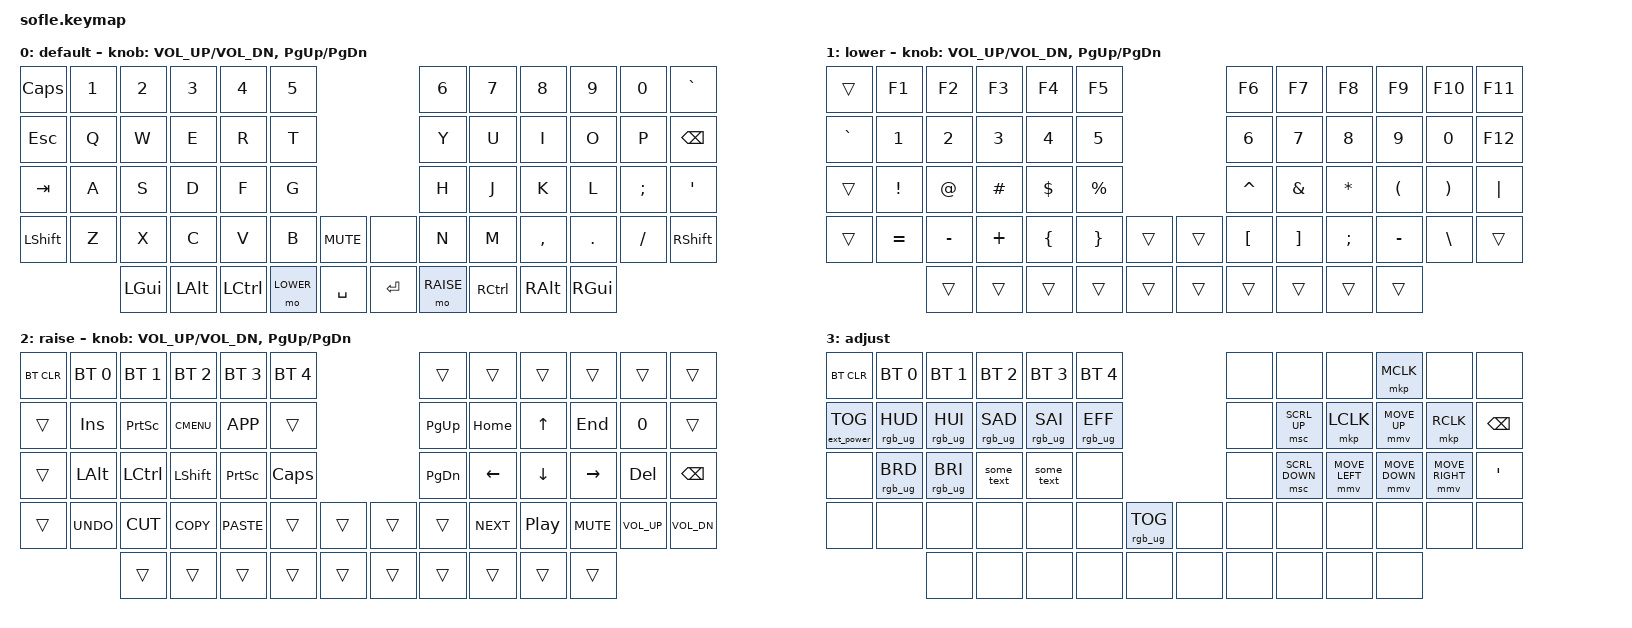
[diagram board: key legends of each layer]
/*
 * Copyright (c) 2020 The ZMK Contributors
 *
 * SPDX-License-Identifier: MIT
 */

#include <behaviors.dtsi>
#include <dt-bindings/zmk/keys.h>
#include <dt-bindings/zmk/bt.h>
#include <dt-bindings/zmk/rgb.h>
#include <dt-bindings/zmk/ext_power.h>

#define BASE 0
#define LOWER 1
#define RAISE 2
#define ADJUST 3

// Mouse definitions
#define ZMK_POINTING_DEFAULT_MOVE_VAL 1500  // default: 600
#define ZMK_POINTING_DEFAULT_SCRL_VAL 20    // default: 10

#include <dt-bindings/zmk/pointing.h>

/ {

   // Activate ADJUST layer by pressing raise and lower
    conditional_layers {
        compatible = "zmk,conditional-layers";
        adjust_layer {
            if-layers = <LOWER RAISE>;
            then-layer = <ADJUST>;
        };
    };

    macros {
        some_text: some_text {
            label = "some_text";
            compatible = "zmk,behavior-macro";
            #binding-cells = <0>;
            wait-ms = <0>;
            tap-ms = <0>;
            bindings
                = <&kp S &kp O &kp M &kp E &kp UNDER &kp T &kp E &kp X &kp T>
                , <&macro_press &kp RET>
                , <&macro_release &kp RET>
                ;
        };
    };

    keymap {
        compatible = "zmk,keymap";

        default_layer { // Layer 0 (BASE)
            display-name = "default";
// ------------------------------------------------------------------------------------------------------------
// |  CAPS |  1  |  2  |  3   |  4   |  5   |                   |  6   |  7    |  8    |  9   |   0   |   `   |
// |  ESC  |  Q  |  W  |  E   |  R   |  T   |                   |  Y   |  U    |  I    |  O   |   P   | BKSPC |
// |  TAB  |  A  |  S  |  D   |  F   |  G   |                   |  H   |  J    |  K    |  L   |   ;   |   '   |
// | SHIFT |  Z  |  X  |  C   |  V   |  B   |  MUTE  |  |       |  N   |  M    |  ,    |  .   |   /   | SHIFT |
//               | GUI | ALT  | CTRL | LOWER|  SPACE |  | ENTER | RAISE| CTRL  | ALT   | GUI  |
            bindings = <
&kp CLCK  &kp N1 &kp N2   &kp N3   &kp N4    &kp N5                           &kp N6     &kp N7    &kp N8    &kp N9   &kp N0   &kp GRAVE
&kp ESC   &kp Q  &kp W    &kp E    &kp R     &kp T                            &kp Y      &kp U     &kp I     &kp O    &kp P    &kp BSPC
&kp TAB   &kp A  &kp S    &kp D    &kp F     &kp G                            &kp H      &kp J     &kp K     &kp L    &kp SEMI &kp SQT
&kp LSHFT &kp Z  &kp X    &kp C    &kp V     &kp B      &kp C_MUTE &none      &kp N      &kp M     &kp COMMA &kp DOT  &kp FSLH &kp RSHFT
                 &kp LGUI &kp LALT &kp LCTRL &mo LOWER  &kp SPACE  &kp RET    &mo RAISE  &kp RCTRL &kp RALT  &kp RGUI
            >;

            sensor-bindings = <&inc_dec_kp C_VOL_UP C_VOL_DN &inc_dec_kp PG_UP PG_DN>;
        };

        lower_layer {
            display-name = "lower";
// TODO: Some binds are waiting for shifted keycode support.
// ------------------------------------------------------------------------------------------------------------
// |       |  F1 |  F2 |  F3  |  F4  |  F5  |                   |  F6  |  F7   |  F8   |  F9  |  F10  |  F11  |
// |   `   |  1  |  2  |  3   |  4   |  5   |                   |  6   |  7    |  8    |  9   |   0   |  F12  |
// |       |  !  |  @  |  #   |  $   |  %   |                   |  ^   |  &    |  *    |  (   |   )   |   |   |
// |       |  =  |  -  |  +   |  {   |  }   |        |  |       |  [   |  ]    |  ;    |  -   |   \   |       |
//               |     |      |      |      |        |  |       |      |       |       |      |
            bindings = <
&trans    &kp F1    &kp F2    &kp F3      &kp F4    &kp F5                    &kp F6    &kp F7   &kp F8    &kp F9    &kp F10   &kp F11
&kp GRAVE &kp N1    &kp N2    &kp N3      &kp N4    &kp N5                    &kp N6    &kp N7   &kp N8    &kp N9    &kp N0    &kp F12
&trans    &kp EXCL  &kp AT    &kp HASH    &kp DLLR  &kp PRCNT                 &kp CARET &kp AMPS &kp ASTRK &kp LPAR  &kp RPAR  &kp PIPE
&trans    &kp EQUAL &kp MINUS &kp PLUS &kp LBRC  &kp RBRC   &trans &trans  &kp LBKT  &kp RBKT &kp SEMI  &kp MINUS &kp BSLH  &trans
                    &trans    &trans      &trans    &trans     &trans &trans  &trans    &trans   &trans    &trans
            >;

            sensor-bindings = <&inc_dec_kp C_VOL_UP C_VOL_DN &inc_dec_kp PG_UP PG_DN>;
        };

        raise_layer {
            display-name = "raise";
// ------------------------------------------------------------------------------------------------------------
// | BTCLR | BT1  | BT2  | BT3   | BT4   | BT5  |                |      |      |       |      |       |       |
// |       | INS  | PSCR | GUI   | APP   |      |                | PGUP | HOME |   ^   | END  |       |       |
// |       | ALT  | CTRL | SHIFT | PSCR  | CAPS |                | PGDN |   <- |   v   |  ->  |  DEL  | BKSPC |
// |       | UNDO | CUT  | COPY  | PASTE |      |      |  |      |      | NEXT | PLAY  | MUTE | VOL+  | VOL-  |
//                |      |       |       |      |      |  |      |      |      |       |      |
            bindings = <
&bt BT_CLR &bt BT_SEL 0 &bt BT_SEL 1 &bt BT_SEL 2 &bt BT_SEL 3 &bt BT_SEL 4                  &trans    &trans       &trans      &trans       &trans        &trans
&trans     &kp INS      &kp PSCRN    &kp K_CMENU  &kp K_APP    &trans                        &kp PG_UP &kp HOME     &kp UP      &kp END      &kp N0        &trans
&trans     &kp LALT     &kp LCTRL    &kp LSHFT    &kp PSCRN    &kp CLCK                      &kp PG_DN &kp LEFT     &kp DOWN    &kp RIGHT    &kp DEL       &kp BSPC
&trans     &kp K_UNDO   &kp K_CUT    &kp K_COPY   &kp K_PASTE  &trans        &trans  &trans  &trans    &kp C_NEXT   &kp C_PP    &kp C_MUTE   &kp C_VOL_UP  &kp C_VOL_DN
                        &trans       &trans       &trans       &trans        &trans  &trans  &trans    &trans       &trans      &trans
            >;

            sensor-bindings = <&inc_dec_kp C_VOL_UP C_VOL_DN &inc_dec_kp PG_UP PG_DN>;
        };

        adjust_layer {
// ----------------------------------------------------------------------------------------------------------------------------
// | BTCLR  |  BT1    |  BT2    |   BT3   |   BT4   |   BT5   |                  |      |      |       | MCLK |       |       |
// | EXTPWR | RGB_HUD | RGB_HUI | RGB_SAD | RGB_SAI | RGB_EFF |                  |      | SC_UP| BTN1  | M_UP | BTN2  | BKSPC |
// |        | RGB_BRD | RGB_BRI | MACRO1  | MACRO0  |         |                  |      | SC_DW| M_LFT | M_DWN| M_RGT |   '   |
// |        |         |         |         |         |         | RGB_TOG | |      |      |      |       |      |       |       |
//                    |         |         |         |         |         | |      |      |      |       |      |
            display-name = "adjust";
            bindings = <
&bt BT_CLR        &bt BT_SEL 0    &bt BT_SEL 1    &bt BT_SEL 2    &bt BT_SEL 3    &bt BT_SEL 4                            &none &none          &none          &mkp MCLK      &none           &none
&ext_power EP_TOG &rgb_ug RGB_HUD &rgb_ug RGB_HUI &rgb_ug RGB_SAD &rgb_ug RGB_SAI &rgb_ug RGB_EFF                         &none &msc SCRL_UP   &mkp LCLK      &mmv MOVE_UP   &mkp RCLK       &kp BSPC
&none             &rgb_ug RGB_BRD &rgb_ug RGB_BRI &some_text      &some_text      &none                                   &none &msc SCRL_DOWN &mmv MOVE_LEFT &mmv MOVE_DOWN &mmv MOVE_RIGHT &kp SQT
&none             &none           &none           &none           &none           &none            &rgb_ug RGB_TOG &none  &none &none          &none          &none          &none           &none
                                  &none           &none           &none           &none            &none           &none  &none &none          &none          &none
            >;
        };

    };
};
